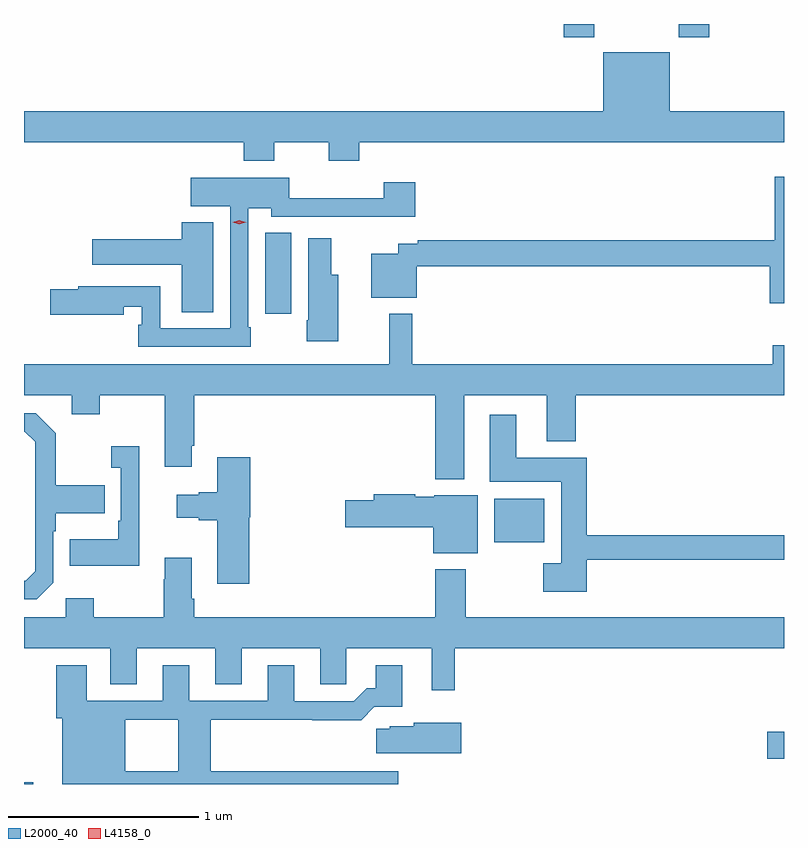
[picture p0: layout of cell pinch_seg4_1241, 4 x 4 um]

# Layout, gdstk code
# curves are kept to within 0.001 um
import gdstk
lib = gdstk.Library(unit=1e-6, precision=1e-09)
def R(c, l, rs):  # rectangles x0, y0, x1, y1
    for r in rs: c.add(gdstk.rectangle(r[:2], r[2:], *l))
def P(c, l, *ps):  # polygons
    for p in ps: c.add(gdstk.Polygon(p, *l))
L2000_40 = (2000, 40)
L4158_0 = (4158, 0)

pinch_seg4_1241 = lib.new_cell('pinch_seg4_1241')
R(pinch_seg4_1241, L2000_40, [(265.321,757.478,265.369,757.486), (269.232,757.61,269.321,757.752), (267.797,758.75,268.06,758.98), (266.591,759.954,266.728,760.379), (268.163,761.409,268.323,761.478), (268.768,761.409,268.928,761.478)])
P(pinch_seg4_1241, L2000_40, [(266.637,760.856),(266.926,760.856),(266.926,760.757),(267.086,760.757),(267.086,760.856),(269.321,760.856),(269.321,761.02),(268.72,761.02),(268.72,761.329),(268.37,761.329),(268.37,761.02),(265.321,761.02),(265.321,760.856),(266.477,760.856),(266.477,760.757),(266.637,760.757)],
  [(269.321,760.675),(269.272,760.675),(269.272,760.34),(267.394,760.34),(267.394,760.321),(267.291,760.321),(267.291,760.27),(267.149,760.27),(267.149,760.037),(267.387,760.037),(267.387,760.204),(269.246,760.204),(269.246,760.009),(269.321,760.009)],
  [(266.515,759.883),(266.502,759.883),(266.502,760.508),(266.622,760.508),(266.622,760.464),(267.131,760.464),(267.131,760.463),(267.38,760.463),(267.38,760.645),(267.215,760.645),(267.215,760.562),(266.718,760.562),(266.718,760.669),(266.199,760.669),(266.199,760.52),(266.406,760.52),(266.406,759.876),(266.037,759.876),(266.037,760.098),(265.607,760.098),(265.607,760.082),(265.458,760.082),(265.458,759.947),(265.846,759.947),(265.846,759.99),(265.941,759.99),(265.941,759.894),(265.921,759.894),(265.921,759.78),(266.515,759.78)],
  [(266.317,760.435),(266.15,760.435),(266.15,760.346),(265.68,760.346),(265.68,760.211),(266.15,760.211),(266.15,759.961),(266.317,759.961)],
  [(266.974,760.159),(266.938,760.159),(266.938,760.351),(266.816,760.351),(266.816,759.919),(266.809,759.919),(266.809,759.807),(266.974,759.807)],
  [(267.637,759.524),(268.073,759.524),(268.073,759.281),(268.226,759.281),(268.226,759.524),(269.321,759.524),(269.321,759.787),(269.261,759.787),(269.261,759.688),(267.365,759.688),(267.365,759.952),(267.244,759.952),(267.244,759.688),(265.321,759.688),(265.321,759.524),(265.571,759.524),(265.571,759.425),(265.719,759.425),(265.719,759.524),(266.063,759.524),(266.063,759.147),(266.203,759.147),(266.203,759.259),(266.216,759.259),(266.216,759.524),(267.485,759.524),(267.485,759.083),(267.637,759.083)],
  [(265.476,758.538),(265.476,758.807),(265.489,758.807),(265.489,758.903),(265.745,758.903),(265.745,759.051),(265.489,759.051),(265.489,759.323),(265.383,759.429),(265.321,759.429),(265.321,759.333),(265.326,759.333),(265.38,759.279),(265.38,758.598),(265.329,758.547),(265.321,758.547),(265.321,758.451),(265.389,758.451)],
  [(268.283,758.658),(269.321,758.658),(269.321,758.786),(268.283,758.786),(268.283,759.196),(267.913,759.196),(267.913,759.421),(267.773,759.421),(267.773,759.068),(268.148,759.068),(268.148,758.641),(268.053,758.641),(268.053,758.489),(268.283,758.489)],
  [(265.928,759.256),(265.779,759.256),(265.779,759.143),(265.83,759.143),(265.83,758.863),(265.818,758.863),(265.818,758.767),(265.561,758.767),(265.561,758.627),(265.928,758.627)],
  [(266.507,758.883),(266.512,758.883),(266.512,759.199),(266.339,759.199),(266.339,759.014),(266.24,759.014),(266.24,759.001),(266.124,759.001),(266.124,758.879),(266.24,758.879),(266.24,758.867),(266.339,758.867),(266.339,758.532),(266.507,758.532)],
  [(267.709,758.998),(267.48,758.998),(267.48,758.989),(267.38,758.989),(267.38,759.002),(267.161,759.002),(267.161,758.972),(267.012,758.972),(267.012,758.83),(267.476,758.83),(267.476,758.693),(267.709,758.693)],
  [(267.589,758.192),(269.321,758.192),(269.321,758.356),(267.645,758.356),(267.645,758.608),(267.485,758.608),(267.485,758.356),(266.216,758.356),(266.216,758.452),(266.203,758.452),(266.203,758.668),(266.063,758.668),(266.063,758.555),(266.056,758.555),(266.056,758.356),(265.689,758.356),(265.689,758.455),(265.542,758.455),(265.542,758.356),(265.321,758.356),(265.321,758.192),(265.775,758.192),(265.775,758.002),(265.915,758.002),(265.915,758.192),(266.327,758.192),(266.327,758.002),(266.467,758.002),(266.467,758.192),(266.879,758.192),(266.879,758.002),(267.018,758.002),(267.018,758.192),(267.467,758.192),(267.467,757.971),(267.589,757.971)],
  [(267.292,757.478),(267.292,757.546),(266.303,757.546),(266.303,757.816),(266.839,757.816),(266.839,757.814),(267.095,757.814),(267.165,757.884),(267.313,757.884),(267.313,758.104),(267.173,758.104),(267.173,757.981),(267.124,757.981),(267.057,757.914),(266.743,757.914),(266.743,758.104),(266.603,758.104),(266.603,757.917),(266.191,757.917),(266.191,758.104),(266.051,758.104),(266.051,757.917),(265.651,757.917),(265.651,758.104),(265.492,758.104),(265.492,757.824),(265.523,757.824),(265.523,757.546),(265.855,757.546),(265.855,757.816),(266.132,757.816),(266.132,757.546),(265.523,757.546),(265.523,757.478)],
  [(267.622,757.801),(267.372,757.801),(267.372,757.783),(267.246,757.783),(267.246,757.769),(267.174,757.769),(267.174,757.64),(267.622,757.64)])
P(pinch_seg4_1241, L4158_0, [(266.455,760.425),(266.42,760.435),(266.42,760.435),(266.42,760.435),(266.455,760.445),(266.489,760.435),(266.49,760.435),(266.489,760.435)])

lib.write_gds('pinch_seg4_1241.gds')
